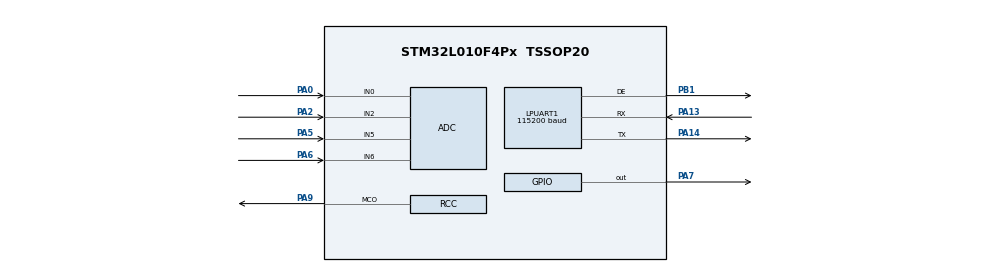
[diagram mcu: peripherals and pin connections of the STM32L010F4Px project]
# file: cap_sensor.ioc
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ADC.DiscontinuousConvMode=ENABLE
LPUART1.BaudRate=115200
LPUART1.WordLength=UART_WORDLENGTH_8B
Mcu.Family=STM32L0
Mcu.Name=STM32L010F4Px
Mcu.Package=TSSOP20
PA0-CK_IN.Mode=IN0
PA0-CK_IN.Signal=ADC_IN0
PA13.Mode=Asynchronous
PA13.Signal=LPUART1_RX
PA14.Mode=Asynchronous
PA14.Signal=LPUART1_TX
PA2.Mode=IN2
PA2.Signal=ADC_IN2
PA5.Mode=IN5
PA5.Signal=ADC_IN5
PA6.Mode=IN6
PA6.Signal=ADC_IN6
PA7.Signal=GPIO_Output
PA9.GPIO_Speed=GPIO_SPEED_FREQ_VERY_HIGH
PA9.Mode=Clock-out
PA9.Signal=RCC_MCO
PB1.Mode=Hardware Flow Control (RS485)
PB1.Signal=LPUART1_DE
ProjectManager.HeapSize=0x200
ProjectManager.StackSize=0x400
ProjectManager.TargetToolchain=STM32CubeIDE
RCC.AHBFreq_Value=2097000
RCC.APB1Freq_Value=2097000
RCC.APB1TimFreq_Value=2097000
RCC.APB2Freq_Value=2097000
RCC.APB2TimFreq_Value=2097000
RCC.HSE_VALUE=8000000
RCC.HSI16_VALUE=16000000
RCC.HSI_VALUE=16000000
RCC.LSE_VALUE=32768
RCC.Lpuart1ClockSelection=RCC_LPUART1CLKSOURCE_HSI
RCC.MSI_VALUE=2097000
RCC.RCC_MCOSource=RCC_MCO1SOURCE_HSI
RCC.SYSCLKFreq_VALUE=2097000
RCC.VCOOutputFreq_Value=48000000
board=custom

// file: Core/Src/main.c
/* USER CODE BEGIN Header */
/**
  ******************************************************************************
  * @file           : main.c
  * @brief          : Main program body
  ******************************************************************************
  * @attention
  *
  * Copyright (c) 2023 STMicroelectronics.
  * All rights reserved.
  *
  * This software is licensed under terms that can be found in the LICENSE file
  * in the root directory of this software component.
  * If no LICENSE file comes with this software, it is provided AS-IS.
  *
  ******************************************************************************
  */
/* USER CODE END Header */
#include "main.h"

/* USER CODE BEGIN Includes */
#include <string.h>
#include <stdio.h>
/* USER CODE END Includes */

/* USER CODE BEGIN PD */
#define ID 10000
/* USER CODE END PD */

ADC_HandleTypeDef hadc;

UART_HandleTypeDef hlpuart1;

/* USER CODE BEGIN PV */
UART_WakeUpTypeDef WakeUpSelection;

uint8_t RXData[4]; // Buffer to store received data
uint32_t TXData[5]; // Buffer to store data to send
/* USER CODE END PV */

void SystemClock_Config(void);
static void MX_GPIO_Init(void);
static void MX_ADC_Init(void);
static void MX_LPUART1_UART_Init(void);

/* USER CODE BEGIN 0 */
uint32_t Poll_ADC_Channel()
{
  // Start ADC Conversion
  HAL_ADC_Start(&hadc);

  // Poll for ADC conversion
  if (HAL_ADC_PollForConversion(&hadc, 10) == HAL_OK)
  {
    uint32_t ADC_Value = HAL_ADC_GetValue(&hadc);
    return ADC_Value;
  }

  // Stop ADC Conversion
  HAL_ADC_Stop(&hadc);

  return 0; // Return 0 if there was an error
}

void Measure_And_Transmit()
{
	// declare buffer to send data
	uint32_t TXData[5];

	// first, include ID
	TXData[0] = ID;

	// Configure PA0 as Output and Set it High
	LL_GPIO_SetOutputPin(GPIOA, LL_GPIO_PIN_0);
	LL_GPIO_SetPinMode(GPIOA, LL_GPIO_PIN_0, LL_GPIO_MODE_OUTPUT);

	// charge cap for 50ms
	HAL_Delay(50);

	// Configure as ADC
	LL_GPIO_SetPinMode(GPIOA, LL_GPIO_PIN_0, LL_GPIO_MODE_ANALOG);

	// wait 2ms to give the voltage time to stabilize
	HAL_Delay(2);

	// Measure the voltage on PA0
	TXData[1] = Poll_ADC_Channel();

	// Delay for another 8ms to be able to inspect the signal on an oscilloscope
	HAL_Delay(8);

	// Manually set PA0 LOW to discharge the capacitor
	LL_GPIO_ResetOutputPin(GPIOA, LL_GPIO_PIN_0);
	LL_GPIO_SetPinMode(GPIOA, LL_GPIO_PIN_0, LL_GPIO_MODE_OUTPUT);

	// measure voltage on PA2 (V_HIGH)
	TXData[2] = Poll_ADC_Channel();

	// measure voltage on PA5 (V_LOW)
	TXData[3] = Poll_ADC_Channel();

	// Set PA7 high (Input R6)
	LL_GPIO_SetOutputPin(GPIOA, LL_GPIO_PIN_7);

	// Delay for 10ms
	HAL_Delay(10);

	// Read ADC_CHANNEL_6 (Output Spannungsteiler NTC - R6 10k)
	// NTC = Heissleiter, Spannung sinkt bei steigender Temp
	TXData[4] = Poll_ADC_Channel();

	// Set PA7 low
	LL_GPIO_ResetOutputPin(GPIOA, LL_GPIO_PIN_7);

	// Transmit sensor data
	HAL_UART_Transmit(&hlpuart1, (uint8_t*)&TXData, sizeof(TXData), 10000);
}
/* USER CODE END 0 */

int main(void)
{

  /* MCU Configuration--------------------------------------------------------*/

  /* Reset of all peripherals, Initializes the Flash interface and the Systick. */
  HAL_Init();

  /* Configure the system clock */
  SystemClock_Config();

  /* Initialize all configured peripherals */
  MX_GPIO_Init();
  MX_ADC_Init();
  MX_LPUART1_UART_Init();

  /* Infinite loop */
  /* USER CODE BEGIN WHILE */

  while (1)
  {
    // wait 10s for data to be received
	if (HAL_UART_Receive(&hlpuart1, RXData, sizeof(RXData), 2000) == HAL_OK) {
		// Convert received data to ID
		uint32_t received_id = (RXData[0]) | (RXData[1] << 8) | (RXData[2] << 16) | (RXData[3] << 24);
		if (received_id == ID) {
			Measure_And_Transmit();
		}
	}
    /* USER CODE END WHILE */

    /* USER CODE BEGIN 3 */
  }
  /*
  void SystemClock_Config(void)
  {
    ...
      while (LL_PWR_IsActiveFlag_VOS() != 0)
	  {
	  }
	..
	}
    */
  /* USER CODE END 3 */
}

void SystemClock_Config(void)
{
  LL_FLASH_SetLatency(LL_FLASH_LATENCY_0);
  while(LL_FLASH_GetLatency()!= LL_FLASH_LATENCY_0)
  {
  }
  LL_PWR_SetRegulVoltageScaling(LL_PWR_REGU_VOLTAGE_SCALE1);
  while (LL_PWR_IsActiveFlag_VOS() != 0)
  {
  }
  LL_RCC_HSI_Enable();

   /* Wait till HSI is ready */
  while(LL_RCC_HSI_IsReady() != 1)
  {

  }
  LL_RCC_HSI_SetCalibTrimming(16);
  LL_RCC_MSI_Enable();

   /* Wait till MSI is ready */
  while(LL_RCC_MSI_IsReady() != 1)
  {

  }
  LL_RCC_MSI_SetRange(LL_RCC_MSIRANGE_5);
  LL_RCC_MSI_SetCalibTrimming(0);
  LL_RCC_SetAHBPrescaler(LL_RCC_SYSCLK_DIV_1);
  LL_RCC_SetAPB1Prescaler(LL_RCC_APB1_DIV_1);
  LL_RCC_SetAPB2Prescaler(LL_RCC_APB2_DIV_1);
  LL_RCC_SetSysClkSource(LL_RCC_SYS_CLKSOURCE_MSI);

   /* Wait till System clock is ready */
  while(LL_RCC_GetSysClkSource() != LL_RCC_SYS_CLKSOURCE_STATUS_MSI)
  {

  }
  LL_SetSystemCoreClock(2097000);

   /* Update the time base */
  if (HAL_InitTick (TICK_INT_PRIORITY) != HAL_OK)
  {
    Error_Handler();
  }
  LL_RCC_SetLPUARTClockSource(LL_RCC_LPUART1_CLKSOURCE_HSI);
  LL_RCC_ConfigMCO(LL_RCC_MCO1SOURCE_HSI, LL_RCC_MCO1_DIV_1);
}

static void MX_ADC_Init(void)
{

  ADC_ChannelConfTypeDef sConfig = {0};

  /** Configure the global features of the ADC (Clock, Resolution, Data Alignment and number of conversion)
  */
  hadc.Instance = ADC1;
  hadc.Init.OversamplingMode = DISABLE;
  hadc.Init.ClockPrescaler = ADC_CLOCK_SYNC_PCLK_DIV1;
  hadc.Init.Resolution = ADC_RESOLUTION_12B;
  hadc.Init.SamplingTime = ADC_SAMPLETIME_1CYCLE_5;
  hadc.Init.ScanConvMode = ADC_SCAN_DIRECTION_FORWARD;
  hadc.Init.DataAlign = ADC_DATAALIGN_RIGHT;
  hadc.Init.ContinuousConvMode = DISABLE;
  hadc.Init.DiscontinuousConvMode = ENABLE;
  hadc.Init.ExternalTrigConvEdge = ADC_EXTERNALTRIGCONVEDGE_NONE;
  hadc.Init.ExternalTrigConv = ADC_SOFTWARE_START;
  hadc.Init.DMAContinuousRequests = DISABLE;
  hadc.Init.EOCSelection = ADC_EOC_SINGLE_CONV;
  hadc.Init.Overrun = ADC_OVR_DATA_PRESERVED;
  hadc.Init.LowPowerAutoWait = DISABLE;
  hadc.Init.LowPowerFrequencyMode = ENABLE;
  hadc.Init.LowPowerAutoPowerOff = DISABLE;
  if (HAL_ADC_Init(&hadc) != HAL_OK)
  {
    Error_Handler();
  }

  /** Configure for the selected ADC regular channel to be converted.
  */
  sConfig.Channel = ADC_CHANNEL_0;
  sConfig.Rank = ADC_RANK_CHANNEL_NUMBER;
  if (HAL_ADC_ConfigChannel(&hadc, &sConfig) != HAL_OK)
  {
    Error_Handler();
  }

  /** Configure for the selected ADC regular channel to be converted.
  */
  sConfig.Channel = ADC_CHANNEL_2;
  if (HAL_ADC_ConfigChannel(&hadc, &sConfig) != HAL_OK)
  {
    Error_Handler();
  }

  /** Configure for the selected ADC regular channel to be converted.
  */
  sConfig.Channel = ADC_CHANNEL_5;
  if (HAL_ADC_ConfigChannel(&hadc, &sConfig) != HAL_OK)
  {
    Error_Handler();
  }

  /** Configure for the selected ADC regular channel to be converted.
  */
  sConfig.Channel = ADC_CHANNEL_6;
  if (HAL_ADC_ConfigChannel(&hadc, &sConfig) != HAL_OK)
  {
    Error_Handler();
  }

}

static void MX_LPUART1_UART_Init(void)
{

  hlpuart1.Instance = LPUART1;
  hlpuart1.Init.BaudRate = 115200;
  hlpuart1.Init.WordLength = UART_WORDLENGTH_8B;
  hlpuart1.Init.StopBits = UART_STOPBITS_1;
  hlpuart1.Init.Parity = UART_PARITY_NONE;
  hlpuart1.Init.Mode = UART_MODE_TX_RX;
  hlpuart1.Init.HwFlowCtl = UART_HWCONTROL_NONE;
  hlpuart1.Init.OneBitSampling = UART_ONE_BIT_SAMPLE_DISABLE;
  hlpuart1.AdvancedInit.AdvFeatureInit = UART_ADVFEATURE_NO_INIT;
  if (HAL_RS485Ex_Init(&hlpuart1, UART_DE_POLARITY_HIGH, 0, 0) != HAL_OK)
  {
    Error_Handler();
  }

}

static void MX_GPIO_Init(void)
{
  LL_GPIO_InitTypeDef GPIO_InitStruct = {0};

  /* GPIO Ports Clock Enable */
  LL_IOP_GRP1_EnableClock(LL_IOP_GRP1_PERIPH_GPIOA);
  LL_IOP_GRP1_EnableClock(LL_IOP_GRP1_PERIPH_GPIOB);

  /**/
  LL_GPIO_ResetOutputPin(GPIOA, LL_GPIO_PIN_7);

  /**/
  GPIO_InitStruct.Pin = LL_GPIO_PIN_7;
  GPIO_InitStruct.Mode = LL_GPIO_MODE_OUTPUT;
  GPIO_InitStruct.Speed = LL_GPIO_SPEED_FREQ_LOW;
  GPIO_InitStruct.OutputType = LL_GPIO_OUTPUT_PUSHPULL;
  GPIO_InitStruct.Pull = LL_GPIO_PULL_NO;
  LL_GPIO_Init(GPIOA, &GPIO_InitStruct);

  /**/
  GPIO_InitStruct.Pin = LL_GPIO_PIN_9;
  GPIO_InitStruct.Mode = LL_GPIO_MODE_ALTERNATE;
  GPIO_InitStruct.Speed = LL_GPIO_SPEED_FREQ_VERY_HIGH;
  GPIO_InitStruct.OutputType = LL_GPIO_OUTPUT_PUSHPULL;
  GPIO_InitStruct.Pull = LL_GPIO_PULL_NO;
  GPIO_InitStruct.Alternate = LL_GPIO_AF_0;
  LL_GPIO_Init(GPIOA, &GPIO_InitStruct);

}

void Error_Handler(void)
{
  /* USER CODE BEGIN Error_Handler_Debug */
  /* User can add his own implementation to report the HAL error return state */
  __disable_irq();
  while (1) {
	// Configure PA0 as Output and Set it High
	LL_GPIO_SetOutputPin(GPIOA, LL_GPIO_PIN_0);
	LL_GPIO_SetPinMode(GPIOA, LL_GPIO_PIN_0, LL_GPIO_MODE_OUTPUT);
  }
  /* USER CODE END Error_Handler_Debug */
}
